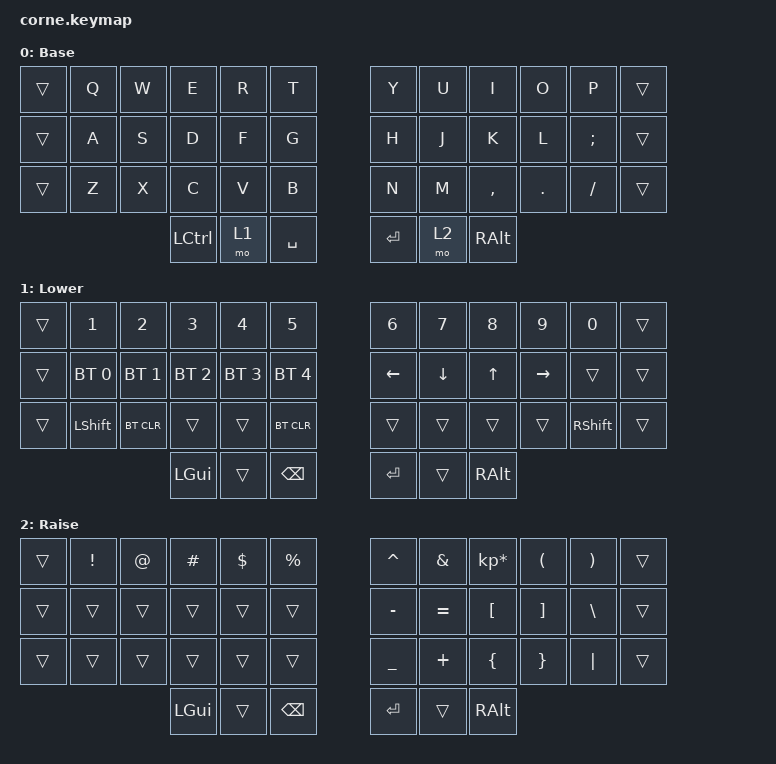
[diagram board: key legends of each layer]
/*
 * Copyright (c) 2020 The ZMK Contributors
 *
 * SPDX-License-Identifier: MIT
 */

#include <behaviors.dtsi>
#include <dt-bindings/zmk/keys.h>
#include <dt-bindings/zmk/bt.h>

/ {
        keymap {
                compatible = "zmk,keymap";

                default_layer {
// -----------------------------------------------------------------------------------------------------
// |      |   Q   |   W   |   E   |   R   |   T   |   |   Y   |   U    |   I   |   O   |   P   |       |
// |      |   A   |   S   |   D   |   F   |   G   |   |   H   |   J    |   K   |   L   |   ;   |       |
// |      |   Z   |   X   |   C   |   V   |   B   |   |   N   |   M    |   ,   |   .   |   /   |       |
//                        |  GUI  |  LWR  |  SPC  |   |  ENT  |  RSE   |  ALT  |
                        display-name = "Base";
                        bindings = <
    &trans  &kp Q   &kp W   &kp E   &kp R   &kp T       &kp Y   &kp U   &kp I     &kp O    &kp P    &trans
    &trans  &kp A   &kp S   &kp D   &kp F   &kp G       &kp H   &kp J   &kp K     &kp L    &kp SEMI &trans
    &trans  &kp Z   &kp X   &kp C   &kp V   &kp B       &kp N   &kp M   &kp COMMA &kp DOT  &kp FSLH &trans
                        &kp LCTRL &mo 1 &kp SPACE       &kp RET &mo 2   &kp RALT
                        >;
                };
                lower_layer {
// -----------------------------------------------------------------------------------------
// |  TAB |  1  |  2  |  3  |  4  |  5  |   |  6  |  7  |  8  |  9  |  0  | BKSP |
// | BTSEL| BT1 | BT2 | BT3 | BT4 | BT5 |   | LFT | DWN |  UP | RGT |     |      |
// | SHFT | CLR |     |     |     |     |   |     |     |     |     |     |      |
//                    | GUI |     | SPC |   | ENT |     | ALT |
                        label = "Lower";
                        bindings = <
   &trans &kp N1       &kp N2       &kp N3       &kp N4       &kp N5         &kp N6   &kp N7   &kp N8   &kp N9    &kp N0    &trans
   &trans &bt BT_SEL 0 &bt BT_SEL 1 &bt BT_SEL 2 &bt BT_SEL 3 &bt BT_SEL 4   &kp LEFT &kp DOWN &kp UP   &kp RIGHT &trans    &trans
   &trans &kp LSHFT    &bt BT_CLR   &trans       &trans       &bt BT_CLR     &trans   &trans   &trans   &trans    &kp RSHFT &trans
                          	    &kp LGUI     &trans       &kp BSPC       &kp RET  &trans   &kp RALT
                        >;
                };

                raise_layer {
// -----------------------------------------------------------------------------------------
// |  TAB |  !  |  @  |  #  |  $  |  %  |   |  ^  |  &  |  *  |  (  |  )  | BKSP |
// | CTRL |     |     |     |     |     |   |  -  |  =  |  [  |  ]  |  \  |  `   |
// | SHFT |     |     |     |     |     |   |  _  |  +  |  {  |  }  | "|" |  ~   |
//                    | GUI |     | SPC |   | ENT |     | ALT |
                        label = "Raise";
                        bindings = <
   &trans &kp EXCL &kp AT &kp HASH &kp DLLR &kp PRCNT   &kp CARET &kp AMPS  &kp KP_MULTIPLY &kp LPAR &kp RPAR &trans
   &trans &trans   &trans &trans   &trans   &trans      &kp MINUS &kp EQUAL &kp LBKT        &kp RBKT &kp BSLH &trans
   &trans &trans   &trans &trans   &trans   &trans      &kp UNDER &kp PLUS  &kp LBRC        &kp RBRC &kp PIPE &trans
                    	  &kp LGUI &trans   &kp BSPC    &kp RET   &trans    &kp RALT
                        >;
                };
        };
};
